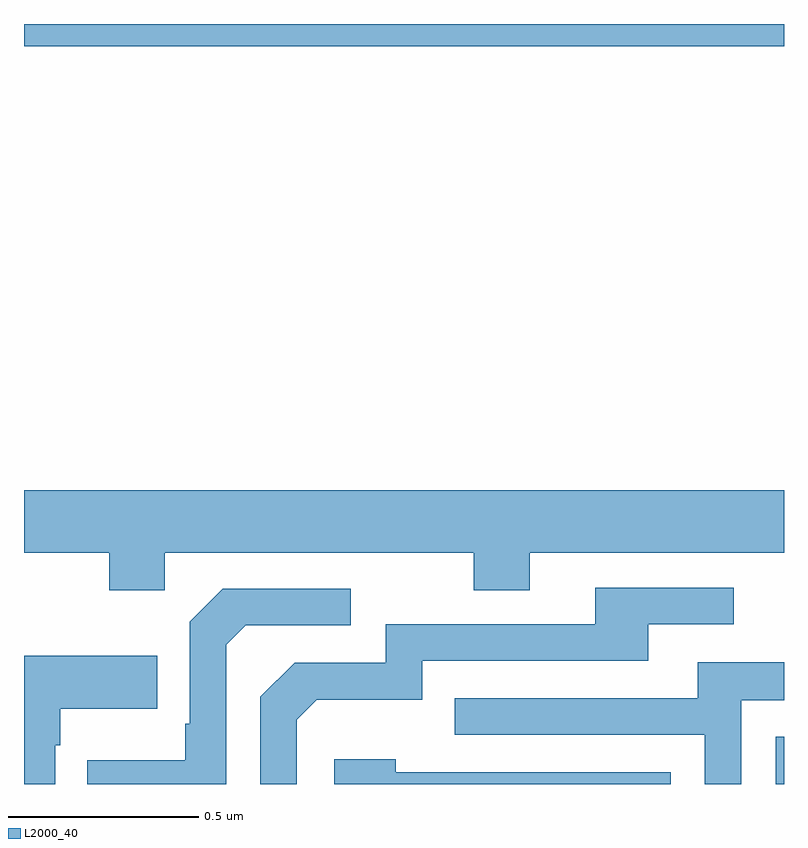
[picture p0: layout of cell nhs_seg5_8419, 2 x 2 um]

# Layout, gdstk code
import gdstk
lib = gdstk.Library(unit=1e-6, precision=1e-09)
def R(c, l, rs):  # rectangles x0, y0, x1, y1
    for r in rs: c.add(gdstk.rectangle(r[:2], r[2:], *l))
def P(c, l, *ps):  # polygons
    for p in ps: c.add(gdstk.Polygon(p, *l))
L2000_40 = (2000, 40)

nhs_seg5_8419 = lib.new_cell('nhs_seg5_8419')
R(nhs_seg5_8419, L2000_40, [(222.978,874.799,223,874.924), (221,876.74,223,876.799)])
P(nhs_seg5_8419, L2000_40, [(221.37,875.408),(222.184,875.408),(222.184,875.309),(222.331,875.309),(222.331,875.408),(223,875.408),(223,875.572),(221,875.572),(221,875.408),(221.224,875.408),(221.224,875.309),(221.37,875.309)],
  [(221.718,874.968),(221.771,875.021),(222.048,875.021),(222.048,875.124),(222.643,875.124),(222.643,875.22),(222.868,875.22),(222.868,875.316),(222.503,875.316),(222.503,875.22),(221.952,875.22),(221.952,875.118),(221.712,875.118),(221.622,875.028),(221.622,874.799),(221.718,874.799)],
  [(221.532,875.166),(221.583,875.217),(221.86,875.217),(221.86,875.313),(221.523,875.313),(221.436,875.226),(221.436,874.957),(221.424,874.957),(221.424,874.861),(221.167,874.861),(221.167,874.799),(221.532,874.799)],
  [(221.082,874.901),(221.095,874.901),(221.095,874.997),(221.351,874.997),(221.351,875.137),(221,875.137),(221,874.799),(221.082,874.799)],
  [(222.888,875.019),(223,875.019),(223,875.119),(222.773,875.119),(222.773,875.025),(222.133,875.025),(222.133,874.929),(222.792,874.929),(222.792,874.799),(222.888,874.799)],
  [(222.702,874.83),(221.978,874.83),(221.978,874.864),(221.817,874.864),(221.817,874.799),(222.702,874.799)])

lib.write_gds('nhs_seg5_8419.gds')
